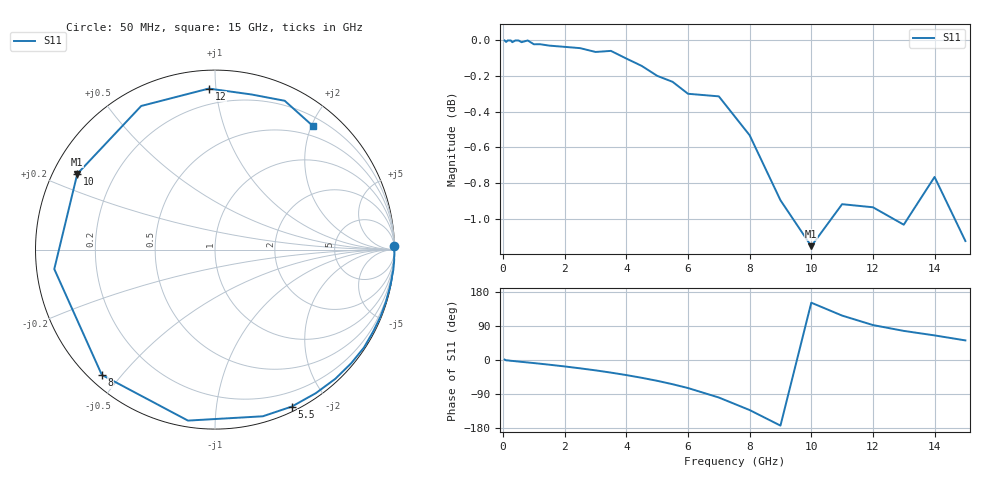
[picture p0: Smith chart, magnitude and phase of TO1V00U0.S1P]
! SIEMENS Small Signal Semiconductors
! BAT15-03W
! Si Schottky Diode in SOD323
! VR = 1 V
! S-Parameters:  May  1996
# GHz  S  MA  R  50
!  f  S11
! GHz  MAG  ANG
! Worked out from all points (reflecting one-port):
!   31 points, 50 MHz to 15 GHz, reference 50 ohm
!   lowest |S11| = -1.2 dB at 10 GHz (marker M1), VSWR 15.08, Z = 3.53 + j12.8 ohm
!   phase of S11 starts at 1 deg and turns -309 deg over the sweep
!   S11 on the Smith chart (normalised r, x): 50 MHz: open; 5.5 GHz: 0.05, -1.60; 8 GHz: 0.04, -0.44; 10 GHz: 0.07, +0.26; 12 GHz: 0.10, +0.96; 15 GHz: 0.33, +2.02
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0.05  1 1.1
0.1  0.999 -0.9
0.15  1 -1.0
0.25  1 -2.1
0.3  0.9989 -2.4
0.4  1 -3.2
0.5  1 -4.1
0.8  1 -6.5
1  0.9975 -8.1
1.5  0.9967 -12.4
2  0.9959 -17.0
2.5  0.995 -22.0
3  0.9926 -27.3
3.5  0.9933 -33.3
4  0.9884 -39.8
4.5  0.9837 -47.0
5  0.9774 -54.9
5.5  0.9736 -63.9
6  0.9662 -74.0
7  0.9646 -99.0
8  0.9406 -132.1
9  0.902 -173.1
10  0.8756 151.2
11  0.8997 117.2
12  0.8979 92.2
13  0.8879 76.8
14  0.9156 64.9
15  0.8785 51.7
